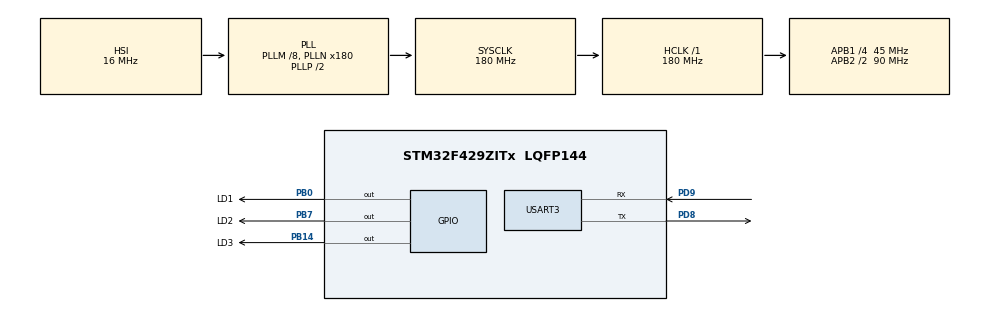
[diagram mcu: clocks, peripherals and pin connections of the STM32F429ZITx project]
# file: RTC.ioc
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Mcu.Family=STM32F4
Mcu.Name=STM32F429ZITx
Mcu.Package=LQFP144
NVIC.PriorityGroup=NVIC_PRIORITYGROUP_4
NVIC.RTC_Alarm_IRQn=true\:0\:0\:false\:false\:true\:true\:true\:true
NVIC.USART3_IRQn=true\:0\:0\:false\:true\:true\:1\:true\:true\:true
PA13.Mode=Serial_Wire
PA13.Signal=SYS_JTMS-SWDIO
PA14.Mode=Serial_Wire
PA14.Signal=SYS_JTCK-SWCLK
PB0.GPIO_Label=LD1
PB0.Signal=GPIO_Output
PB14.GPIO_Label=LD3
PB14.Signal=GPIO_Output
PB7.GPIO_Label=LD2
PB7.Signal=GPIO_Output
PC14/OSC32_IN.Mode=LSE-External-Oscillator
PC14/OSC32_IN.Signal=RCC_OSC32_IN
PC15/OSC32_OUT.Mode=LSE-External-Oscillator
PC15/OSC32_OUT.Signal=RCC_OSC32_OUT
PD8.Mode=Asynchronous
PD8.Signal=USART3_TX
PD9.Mode=Asynchronous
PD9.Signal=USART3_RX
PH0/OSC_IN.Mode=HSE-External-Clock-Source
PH0/OSC_IN.Signal=RCC_OSC_IN
PH1/OSC_OUT.Mode=HSE-External-Clock-Source
PH1/OSC_OUT.Signal=RCC_OSC_OUT
ProjectManager.HeapSize=0x200
ProjectManager.StackSize=0x400
ProjectManager.TargetToolchain=STM32CubeIDE
RCC.48MHZClocksFreq_Value=90000000
RCC.AHBFreq_Value=180000000
RCC.APB1CLKDivider=RCC_HCLK_DIV4
RCC.APB1Freq_Value=45000000
RCC.APB1TimFreq_Value=90000000
RCC.APB2CLKDivider=RCC_HCLK_DIV2
RCC.APB2Freq_Value=90000000
RCC.APB2TimFreq_Value=180000000
RCC.CortexFreq_Value=180000000
RCC.HCLKFreq_Value=180000000
RCC.HSE_VALUE=25000000
RCC.HSI_VALUE=16000000
RCC.PLLM=8
RCC.PLLN=180
RCC.RCC_RTC_Clock_Source=RCC_RTCCLKSOURCE_LSE
RCC.RCC_RTC_Clock_SourceVirtual=RCC_RTCCLKSOURCE_LSE
RCC.SYSCLKFreq_VALUE=180000000
RCC.SYSCLKSource=RCC_SYSCLKSOURCE_PLLCLK
RCC.VCOOutputFreq_Value=360000000
RTC.Alarm=RTC_ALARM_A
RTC.Date=1
RTC.Hours=12
RTC.Month=RTC_MONTH_OCTOBER
RTC.Seconds_A=10
RTC.Year=23
USART3.VirtualMode=VM_ASYNC
VP_RTC_VS_RTC_Activate.Mode=RTC_Enabled
VP_RTC_VS_RTC_Alarm_A_Intern.Mode=Alarm A
VP_RTC_VS_RTC_Calendar.Mode=RTC_Calendar
board=custom

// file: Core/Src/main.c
/* USER CODE BEGIN Header */
/**
  ******************************************************************************
  * @file           : main.c
  * @brief          : Main program body
  ******************************************************************************
  * @attention
  *
  * Copyright (c) 2023 STMicroelectronics.
  * All rights reserved.
  *
  * This software is licensed under terms that can be found in the LICENSE file
  * in the root directory of this software component.
  * If no LICENSE file comes with this software, it is provided AS-IS.
  *
  ******************************************************************************
  */
/* USER CODE END Header */
#include "main.h"
#include "rtc.h"
#include "usart.h"
#include "gpio.h"

/* USER CODE BEGIN Includes */
#include "stdio.h"
#include "string.h"
/* USER CODE END Includes */

/* USER CODE BEGIN PV */
char showTime[30] = {0};
char showDate[30] = {0};
char ampm[2][3] = {"AM", "PM"};
/* USER CODE END PV */

void SystemClock_Config(void);
static void MX_NVIC_Init(void);
/* USER CODE BEGIN PFP */
int _write(int file, char *ptr, int len) {
	HAL_UART_Transmit(&huart3, (uint8_t *)ptr, len, 500);
	return len;
}

int __io_putchar(int ch) {
	HAL_UART_Transmit(&huart3, (uint8_t *)&ch, 1, 1000);
	return ch;
}
/* USER CODE END PFP */

/* USER CODE BEGIN 0 */
void get_time(void) {
	RTC_DateTypeDef sDate;
	RTC_TimeTypeDef sTime;

	// Get the RTC current Time
	HAL_RTC_GetTime(&hrtc, &sTime, RTC_FORMAT_BIN);
	// Get the RTC current Date
	HAL_RTC_GetDate(&hrtc, &sDate, RTC_FORMAT_BIN);

	// Display time Format: hh:mm:ss
	sprintf((char *)showTime, "%02d:%02d:%02d\t\r\n", sTime.Hours, sTime.Minutes, sTime.Seconds);
	// Display time Format: dd-mm-yy
	sprintf((char *)showDate, "%s-%04d-%02d-%02d\t\r\n", ampm[sTime.TimeFormat >> 6],
			 2000 + sDate.Year, sDate.Month, sDate.Date);
}

void set_time(uint8_t hh, uint8_t mm, uint8_t ss) {
	RTC_TimeTypeDef sTime;

	sTime.Hours = hh; // set hours
	sTime.Minutes = mm; // set minutes
	sTime.Seconds = ss; // set seconds

	HAL_RTC_SetTime(&hrtc, &sTime, RTC_FORMAT_BIN);
}

void set_Date(uint8_t ww, uint8_t mm, uint8_t dd, uint8_t yy) {
	RTC_DateTypeDef sDate;

	sDate.WeekDay = ww; // date RTC_WEEKDAY_THURSDAY
	sDate.Month = mm; // month RTC_MONTH_FEBRUARY
	sDate.Date = dd; // date
	sDate.Year = yy; // year

	HAL_RTC_SetDate(&hrtc, &sDate, RTC_FORMAT_BIN);
}
/* USER CODE END 0 */

int main(void)
{

  /* MCU Configuration--------------------------------------------------------*/

  /* Reset of all peripherals, Initializes the Flash interface and the Systick. */
  HAL_Init();

  /* Configure the system clock */
  SystemClock_Config();

  /* Initialize all configured peripherals */
  MX_GPIO_Init();
  MX_RTC_Init();
  MX_USART3_UART_Init();

  /* Initialize interrupts */
  MX_NVIC_Init();
  /* USER CODE BEGIN 2 */
  set_time(1,16,20);
  set_Date(RTC_WEEKDAY_MONDAY, 10, 27, 23);
  /* USER CODE END 2 */

  /* Infinite loop */
  /* USER CODE BEGIN WHILE */
  while (1)
  {
	  get_time();

	  HAL_UART_Transmit(&huart3, (uint8_t *)&showTime, strlen(showTime), 1000);
	  HAL_Delay(1);
	  HAL_UART_Transmit(&huart3, (uint8_t *)&showDate, strlen(showDate), 1000);
	  HAL_Delay(1);

	  HAL_Delay(1000);
    /* USER CODE END WHILE */

  }
}

void SystemClock_Config(void)
{
  RCC_OscInitTypeDef RCC_OscInitStruct = {0};
  RCC_ClkInitTypeDef RCC_ClkInitStruct = {0};

  /** Configure the main internal regulator output voltage
  */
  __HAL_RCC_PWR_CLK_ENABLE();
  __HAL_PWR_VOLTAGESCALING_CONFIG(PWR_REGULATOR_VOLTAGE_SCALE1);

  /** Initializes the RCC Oscillators according to the specified parameters
  * in the RCC_OscInitTypeDef structure.
  */
  RCC_OscInitStruct.OscillatorType = RCC_OSCILLATORTYPE_HSI|RCC_OSCILLATORTYPE_LSE;
  RCC_OscInitStruct.LSEState = RCC_LSE_ON;
  RCC_OscInitStruct.HSIState = RCC_HSI_ON;
  RCC_OscInitStruct.HSICalibrationValue = RCC_HSICALIBRATION_DEFAULT;
  RCC_OscInitStruct.PLL.PLLState = RCC_PLL_ON;
  RCC_OscInitStruct.PLL.PLLSource = RCC_PLLSOURCE_HSI;
  RCC_OscInitStruct.PLL.PLLM = 8;
  RCC_OscInitStruct.PLL.PLLN = 180;
  RCC_OscInitStruct.PLL.PLLP = RCC_PLLP_DIV2;
  RCC_OscInitStruct.PLL.PLLQ = 4;
  if (HAL_RCC_OscConfig(&RCC_OscInitStruct) != HAL_OK)
  {
    Error_Handler();
  }

  /** Activate the Over-Drive mode
  */
  if (HAL_PWREx_EnableOverDrive() != HAL_OK)
  {
    Error_Handler();
  }

  /** Initializes the CPU, AHB and APB buses clocks
  */
  RCC_ClkInitStruct.ClockType = RCC_CLOCKTYPE_HCLK|RCC_CLOCKTYPE_SYSCLK
                              |RCC_CLOCKTYPE_PCLK1|RCC_CLOCKTYPE_PCLK2;
  RCC_ClkInitStruct.SYSCLKSource = RCC_SYSCLKSOURCE_PLLCLK;
  RCC_ClkInitStruct.AHBCLKDivider = RCC_SYSCLK_DIV1;
  RCC_ClkInitStruct.APB1CLKDivider = RCC_HCLK_DIV4;
  RCC_ClkInitStruct.APB2CLKDivider = RCC_HCLK_DIV2;

  if (HAL_RCC_ClockConfig(&RCC_ClkInitStruct, FLASH_LATENCY_5) != HAL_OK)
  {
    Error_Handler();
  }
}

/**
  * @brief NVIC Configuration.
  * @retval None
  */
static void MX_NVIC_Init(void)
{
  /* USART3_IRQn interrupt configuration */
  HAL_NVIC_SetPriority(USART3_IRQn, 0, 0);
  HAL_NVIC_EnableIRQ(USART3_IRQn);
}

/* USER CODE BEGIN 4 */
void HAL_RTC_AlarmAEventCallback(RTC_HandleTypeDef *hrtc) {
	printf("Alarm Callback Occurred!! \r\n");
	HAL_GPIO_TogglePin(GPIOB, LD2_Pin);
}
/* USER CODE END 4 */

void Error_Handler(void)
{
  __disable_irq();
  while (1)
  {
  }
}
